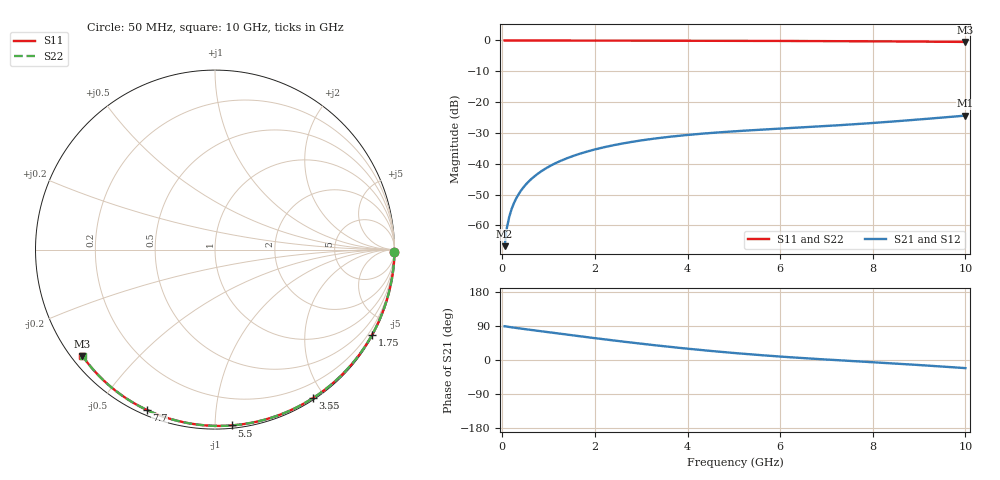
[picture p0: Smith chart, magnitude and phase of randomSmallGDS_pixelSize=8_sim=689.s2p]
! freq	dB(S11)	phase(S11)	dB(S12)	phase(S12)
!  dB(S21)	phase(S21)	dB(S22)	phase(S22)
!S-par simulation data
#  GHz  S  DB  R 50
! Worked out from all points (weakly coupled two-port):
!   200 points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, 50 MHz to 10 GHz, reference 50 ohm
!   highest |S21| = -24.38 dB at 10 GHz (marker M1); lowest = -66.7 dB at 50 MHz (marker M2)
!   lowest |S11| = -0.5 dB at 10 GHz (marker M3), VSWR 36.53, Z = 1.54 - j17.6 ohm
!   |S11| at or under -10 dB: nowhere
!   |S22| runs from -0.5 to 0.0 dB; largest |S21 - S12| = 0
!   S11 on the Smith chart (normalised r, x): 50 MHz: open; 1.75 GHz: 0.03, -3.92; 3.55 GHz: 0.02, -1.86; 5.5 GHz: 0.02, -1.10; 7.7 GHz: 0.02, -0.66; 10 GHz: 0.03, -0.35
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0.05  -0.00 -0.8  -66.72 89.0  -66.72 89.0  -0.00 -0.8
0.1  -0.00 -1.7  -60.71 88.1  -60.71 88.1  -0.00 -1.7
0.15  -0.00 -2.5  -57.21 87.1  -57.21 87.1  -0.00 -2.5
0.2  -0.00 -3.3  -54.73 86.2  -54.73 86.2  -0.00 -3.3
0.25  -0.00 -4.2  -52.81 85.4  -52.81 85.4  -0.00 -4.2
0.35  -0.00 -5.8  -49.92 83.7  -49.92 83.7  -0.00 -5.8
0.5  -0.01 -8.3  -46.86 81.3  -46.86 81.3  -0.01 -8.3
0.7  -0.01 -11.6  -43.99 78.1  -43.99 78.1  -0.01 -11.6
1  -0.02 -16.5  -40.97 73.3  -40.97 73.3  -0.02 -16.5
1.35  -0.03 -22.2  -38.48 67.7  -38.48 67.7  -0.03 -22.2
1.75  -0.04 -28.6  -36.39 61.5  -36.39 61.5  -0.04 -28.6
2.5  -0.05 -40.5  -33.69 50.1  -33.69 50.1  -0.05 -40.5
3.4  -0.07 -54.3  -31.61 37.5  -31.61 37.5  -0.07 -54.3
3.55  -0.08 -56.6  -31.35 35.5  -31.35 35.5  -0.08 -56.5
4.3  -0.10 -67.6  -30.25 26.3  -30.25 26.3  -0.10 -67.5
5.05  -0.12 -78.3  -29.43 18.0  -29.43 18.0  -0.12 -78.2
5.5  -0.14 -84.5  -29.02 13.6  -29.02 13.6  -0.14 -84.4
6.7  -0.20 -100.4  -28.00 3.5  -28.00 3.5  -0.20 -100.3
7.7  -0.26 -113.1  -27.08 -3.8  -27.08 -3.8  -0.26 -113.0
8.35  -0.31 -121.2  -26.39 -8.4  -26.39 -8.4  -0.31 -121.1
9.2  -0.39 -131.6  -25.38 -14.8  -25.38 -14.8  -0.39 -131.5
10  -0.48 -141.3  -24.38 -21.5  -24.38 -21.5  -0.48 -141.2
